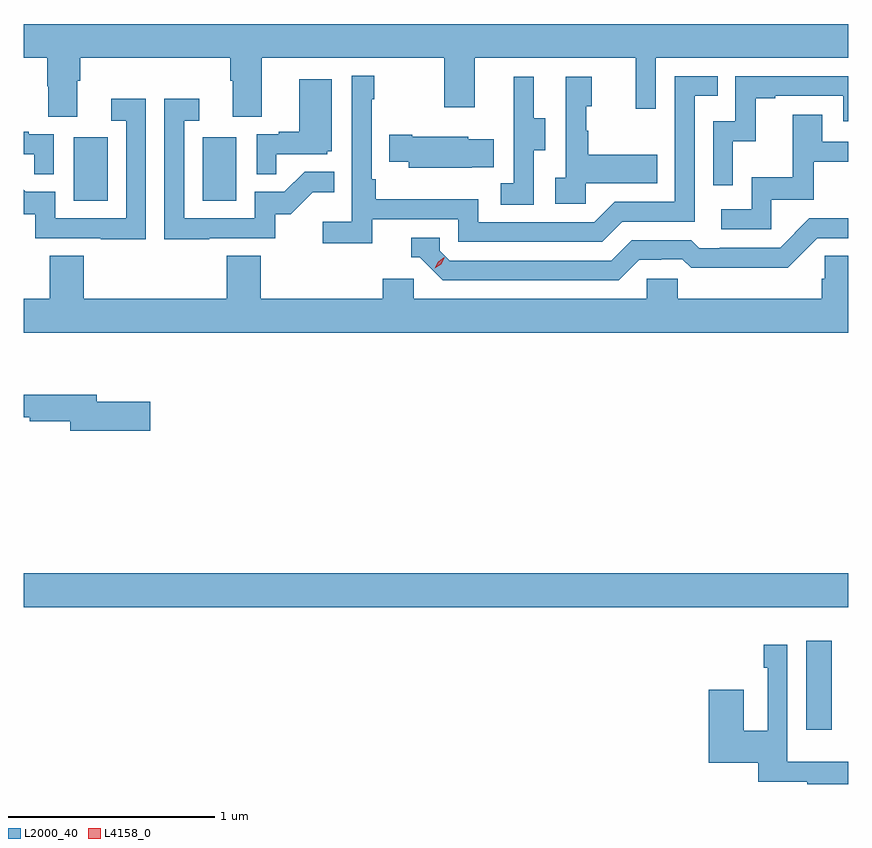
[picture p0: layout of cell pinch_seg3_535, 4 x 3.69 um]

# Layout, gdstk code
import gdstk
lib = gdstk.Library(unit=1e-6, precision=1e-09)
def R(c, l, rs):  # rectangles x0, y0, x1, y1
    for r in rs: c.add(gdstk.rectangle(r[:2], r[2:], *l))
def P(c, l, *ps):  # polygons
    for p in ps: c.add(gdstk.Polygon(p, *l))
L2000_40 = (2000, 40)
L4158_0 = (4158, 0)

pinch_seg3_535 = lib.new_cell('pinch_seg3_535')
R(pinch_seg3_535, L2000_40, [(1109.972,701.655,1110.094,702.085), (1106.176,702.248,1110.176,702.412), (1106.42,704.22,1106.584,704.527), (1107.044,704.22,1107.208,704.527)])
P(pinch_seg3_535, L2000_40, [(1106.437,704.8),(1106.45,704.8),(1106.45,704.912),(1107.179,704.912),(1107.179,704.8),(1107.191,704.8),(1107.191,704.626),(1107.331,704.626),(1107.331,704.912),(1108.216,704.912),(1108.216,704.673),(1108.363,704.673),(1108.363,704.912),(1109.144,704.912),(1109.144,704.664),(1109.241,704.664),(1109.241,704.912),(1110.176,704.912),(1110.176,705.076),(1106.176,705.076),(1106.176,704.912),(1106.29,704.912),(1106.29,704.775),(1106.297,704.775),(1106.297,704.626),(1106.437,704.626)],
  [(1107.866,704.13),(1108.284,704.13),(1108.284,704.019),(1108.981,704.019),(1109.08,704.118),(1109.43,704.118),(1109.43,704.727),(1109.543,704.727),(1109.543,704.823),(1109.334,704.823),(1109.334,704.214),(1109.043,704.214),(1108.944,704.115),(1108.38,704.115),(1108.38,704.227),(1107.884,704.227),(1107.884,704.323),(1107.864,704.323),(1107.864,704.711),(1107.877,704.711),(1107.877,704.824),(1107.768,704.824),(1107.768,704.116),(1107.627,704.116),(1107.627,704.014),(1107.866,704.014)],
  [(1109.616,704.507),(1109.726,704.507),(1109.726,704.715),(1109.821,704.715),(1109.821,704.727),(1110.15,704.727),(1110.15,704.604),(1110.176,704.604),(1110.176,704.823),(1109.628,704.823),(1109.628,704.604),(1109.52,704.604),(1109.52,704.295),(1109.616,704.295)],
  [(1108.65,704.464),(1108.705,704.464),(1108.705,704.619),(1108.651,704.619),(1108.651,704.821),(1108.553,704.821),(1108.553,704.607),(1108.554,704.607),(1108.554,704.303),(1108.491,704.303),(1108.491,704.2),(1108.65,704.2)],
  [(1108.902,704.303),(1109.249,704.303),(1109.249,704.443),(1108.915,704.443),(1108.915,704.558),(1108.905,704.558),(1108.905,704.676),(1108.93,704.676),(1108.93,704.821),(1108.806,704.821),(1108.806,704.33),(1108.755,704.33),(1108.755,704.205),(1108.902,704.205)],
  [(1107.401,704.445),(1107.648,704.445),(1107.648,704.46),(1107.67,704.46),(1107.67,704.809),(1107.512,704.809),(1107.512,704.554),(1107.413,704.554),(1107.413,704.541),(1107.306,704.541),(1107.306,704.347),(1107.401,704.347)],
  [(1106.769,704.713),(1106.601,704.713),(1106.601,704.607),(1106.673,704.607),(1106.673,704.133),(1106.331,704.133),(1106.331,704.262),(1106.186,704.262),(1106.176,704.272),(1106.176,704.154),(1106.233,704.154),(1106.233,704.037),(1106.551,704.037),(1106.551,704.032),(1106.769,704.032)],
  [(1107.077,704.037),(1107.396,704.037),(1107.396,704.154),(1107.472,704.154),(1107.579,704.261),(1107.683,704.261),(1107.683,704.36),(1107.539,704.36),(1107.441,704.262),(1107.297,704.262),(1107.297,704.133),(1106.955,704.133),(1106.955,704.607),(1107.028,704.607),(1107.028,704.713),(1106.859,704.713),(1106.859,704.032),(1107.077,704.032)],
  [(1109.802,704.223),(1110.007,704.223),(1110.007,704.409),(1110.176,704.409),(1110.176,704.505),(1110.049,704.505),(1110.049,704.635),(1109.905,704.635),(1109.905,704.332),(1109.706,704.332),(1109.706,704.178),(1109.559,704.178),(1109.559,704.082),(1109.802,704.082)],
  [(1106.322,704.541),(1106.201,704.541),(1106.201,704.554),(1106.176,704.554),(1106.176,704.445),(1106.227,704.445),(1106.227,704.347),(1106.322,704.347)],
  [(1108.349,704.381),(1108.457,704.381),(1108.457,704.518),(1108.332,704.518),(1108.332,704.53),(1108.06,704.53),(1108.06,704.538),(1107.949,704.538),(1107.949,704.408),(1108.043,704.408),(1108.043,704.378),(1108.349,704.378)],
  [(1109.161,703.932),(1109.268,703.932),(1109.268,703.935),(1109.371,703.935),(1109.413,703.893),(1109.646,703.893),(1109.646,703.895),(1109.882,703.895),(1110.024,704.037),(1110.176,704.037),(1110.176,704.133),(1109.985,704.133),(1109.844,703.992),(1109.551,703.992),(1109.551,703.989),(1109.452,703.989),(1109.413,704.028),(1109.124,704.028),(1109.025,703.929),(1108.242,703.929),(1108.194,703.977),(1108.194,704.04),(1108.055,704.04),(1108.055,703.944),(1108.098,703.944),(1108.209,703.833),(1109.062,703.833)],
  [(1107.917,703.842),(1107.917,703.744),(1107.326,703.744),(1107.326,703.952),(1107.161,703.952),(1107.161,703.744),(1106.468,703.744),(1106.468,703.952),(1106.303,703.952),(1106.303,703.744),(1106.176,703.744),(1106.176,703.58),(1110.176,703.58),(1110.176,703.952),(1110.061,703.952),(1110.061,703.842),(1110.047,703.842),(1110.047,703.744),(1109.349,703.744),(1109.349,703.842),(1109.199,703.842),(1109.199,703.744),(1108.068,703.744),(1108.068,703.842)],
  [(1106.791,703.245),(1106.53,703.245),(1106.53,703.279),(1106.176,703.279),(1106.176,703.169),(1106.206,703.169),(1106.206,703.15),(1106.402,703.15),(1106.402,703.103),(1106.791,703.103)],
  [(1110.176,701.499),(1110.09,701.499),(1110.09,701.5),(1109.88,701.5),(1109.88,702.067),(1109.764,702.067),(1109.764,701.954),(1109.784,701.954),(1109.784,701.648),(1109.668,701.648),(1109.668,701.848),(1109.498,701.848),(1109.498,701.495),(1109.738,701.495),(1109.738,701.401),(1109.977,701.401),(1109.977,701.391),(1110.176,701.391)])
P(pinch_seg3_535, L4158_0, [(1108.17,703.892),(1108.17,703.892),(1108.186,703.924),(1108.217,703.944),(1108.217,703.944),(1108.217,703.943),(1108.201,703.911),(1108.17,703.892)])

lib.write_gds('pinch_seg3_535.gds')
